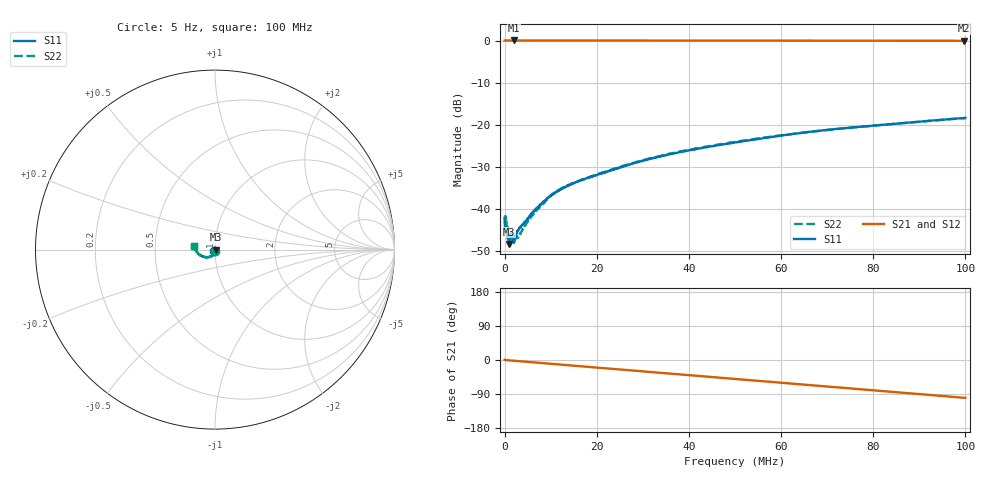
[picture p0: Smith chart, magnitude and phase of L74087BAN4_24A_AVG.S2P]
!Agilent Technologies,E5061B,MY49102235,A.02.00
!Date: Tue Jul 11 16:24:51 2023
!Data & Calibration Information:
!Freq	S11:SOLT2(ON)	S21:SOLT2(ON)	S12:SOLT2(ON)	S22:SOLT2(ON)
# Hz S RI R 50
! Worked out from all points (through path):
!   1600 points, 5 Hz to 100 MHz, reference 50 ohm
!   highest |S21| = 0.02 dB at 1.939 MHz (marker M1); lowest = -0.1 dB at 99.75 MHz (marker M2)
!   group delay of S21, straight-line fit = 2.78 ns
!   lowest |S11| = -48.2 dB at 1.001 MHz (marker M3), VSWR 1.01, Z = 50.4 - j0.0849 ohm
!   |S11| at or under -10 dB: start of sweep to end of sweep
!   |S22| runs from -48.8 to -18.4 dB; largest |S21 - S12| = 0.0026
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5  -0.00522 -0.00565  1.002 0.008  1 0.0103  -0.00149 -0.00754
437778.6  0.00514 -0.000633  1.001 -0.00527  1.001 -0.00595  0.00664 -0.00228
625395.8  0.00509 -0.000676  1.002 -0.0104  1.002 -0.00991  0.00612 -0.00108
1000630  0.00378 -0.000843  1.001 -0.0163  1.001 -0.016  0.00517 -0.00175
1563482  0.00436 -0.00298  1.001 -0.0261  1.001 -0.0255  0.00317 -0.00357
1938717  0.00313 -0.00244  1.002 -0.0334  1.001 -0.033  0.00342 -0.0022
2376490  0.00331 -0.00314  0.9996 -0.0411  1 -0.0414  0.00394 -0.00279
3064420  0.00416 -0.00386  0.9998 -0.0531  0.9993 -0.0531  0.00305 -0.00372
6003757  0.0033 -0.00822  0.9955 -0.1043  0.9956 -0.1042  0.00282 -0.00802
9505946  0.00141 -0.0136  0.9872 -0.1652  0.9874 -0.165  0.000738 -0.0136
1.163227e7  -0.000139 -0.0166  0.9805 -0.2016  0.9803 -0.2013  -0.00115 -0.0166
1.669794e7  -0.00408 -0.0218  0.9582 -0.2873  0.9582 -0.2871  -0.00456 -0.0218
2.582865e7  -0.0117 -0.0299  0.9006 -0.4357  0.9005 -0.4356  -0.00969 -0.0313
3.333334e7  -0.0208 -0.0361  0.8354 -0.5494  0.8354 -0.5492  -0.0196 -0.0373
4.033771e7  -0.0305 -0.04  0.7619 -0.6468  0.7619 -0.6467  -0.0303 -0.0411
5.003127e7  -0.0454 -0.0418  0.6418 -0.7657  0.6417 -0.7655  -0.0458 -0.0429
6.672921e7  -0.0756 -0.0351  0.3939 -0.9162  0.3942 -0.9163  -0.075 -0.0357
7.53596e7  -0.0896 -0.0254  0.252 -0.9639  0.2522 -0.9639  -0.089 -0.0264
8.33646e7  -0.1007 -0.0126  0.1155 -0.9889  0.1154 -0.9891  -0.1003 -0.0146
9.155722e7  -0.1109 0.0029  -0.0267 -0.9941  -0.0267 -0.9942  -0.1109 -0.000274
9.974984e7  -0.1188 0.0203  -0.1677 -0.9789  -0.1675 -0.9793  -0.1187 0.0174
1e8  -0.119 0.0208  -0.1719 -0.9783  -0.1718 -0.9785  -0.1191 0.0181
